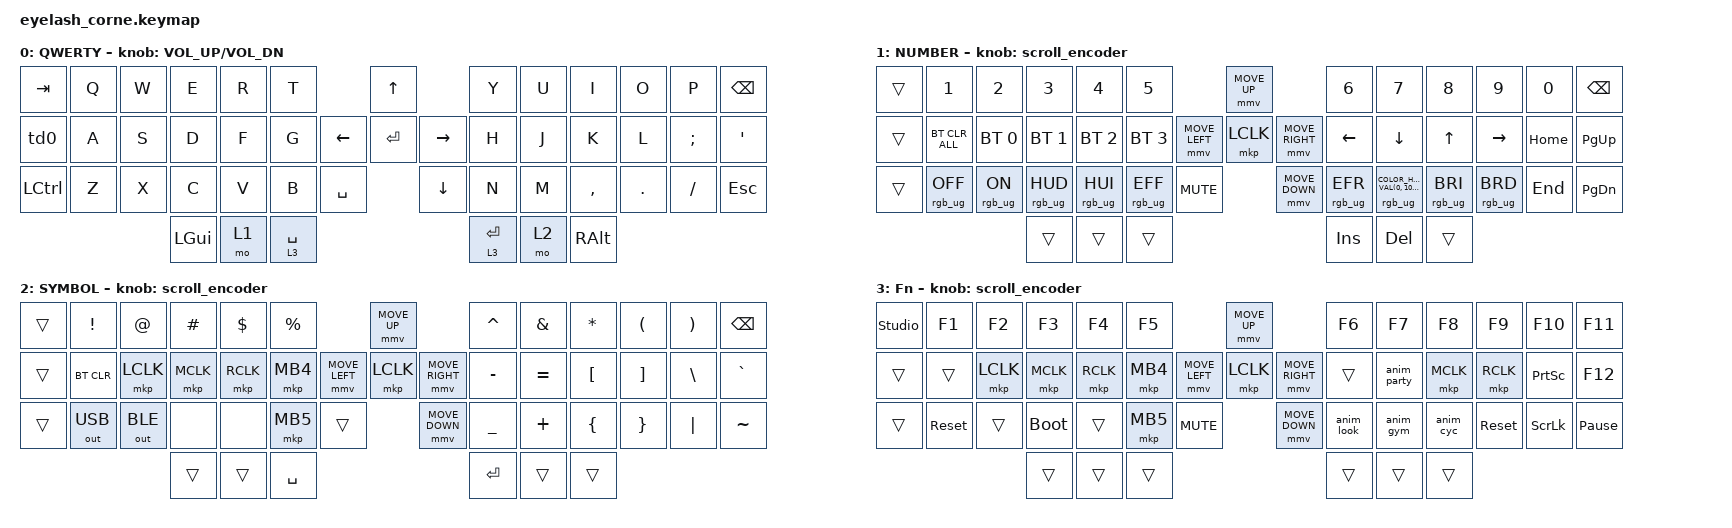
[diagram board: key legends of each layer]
#define ZMK_POINTING_DEFAULT_MOVE_VAL 1200  // 600
#define ZMK_POINTING_DEFAULT_SCRL_VAL 25   // 10

#include <input/processors.dtsi>
#include <zephyr/dt-bindings/input/input-event-codes.h>
#include <behaviors.dtsi>
#include <dt-bindings/zmk/bt.h>
#include <dt-bindings/zmk/keys.h>
#include <dt-bindings/zmk/outputs.h>
#include <dt-bindings/zmk/pointing.h>
#include <dt-bindings/zmk/rgb.h>

&mmv_input_listener { input-processors = <&zip_xy_scaler 2 1>; };

&msc_input_listener { input-processors = <&zip_scroll_scaler 2 1>; };

&msc {
    acceleration-exponent = <1>;      // 0
    time-to-max-speed-ms = <100>;       // 300
    delay-ms = <0>;                   // 0
};

&mmv {
    time-to-max-speed-ms = <500>;
    acceleration-exponent = <1>;
    trigger-period-ms = <16>;
};

&soft_off { hold-time-ms = <2000>; };

/ {
    behaviors {
        td0: td0 {
            compatible = "zmk,behavior-tap-dance";
            display-name = "Shift/Caps Lock Tap Dance";
            #binding-cells = <0>;
            bindings = <&kp LEFT_SHIFT>, <&kp CAPS>;
        };

        /* Display half: zero-param behaviors (split BLE cannot rely on anim_pick params). */
        anim_look: anim_look {
            compatible = "zmk,behavior-anim-set";
            animation-index = <0>;
            #binding-cells = <0>;
        };
        anim_gym: anim_gym {
            compatible = "zmk,behavior-anim-set";
            animation-index = <1>;
            #binding-cells = <0>;
        };
        /*
        anim_boo: anim_boo {
            compatible = "zmk,behavior-anim-set";
            animation-index = <2>;
            #binding-cells = <0>;
        };
        */
        /* anim_party: label ≤9 chars for split BLE run-behavior device name. */
        anim_party: anim_party {
            compatible = "zmk,behavior-anim-set";
            animation-index = <2>;
            #binding-cells = <0>;
        };
        /* Label anim_cyc: BLE run-behavior name max 9 chars (ANIM_CYC). */
        anim_cyc: anim_cyc {
            compatible = "zmk,behavior-anim-cycle";
            #binding-cells = <0>;
        };
    };

    rgb_encoder: rgb_encoder {
        compatible = "zmk,behavior-sensor-rotate";
        #sensor-binding-cells = <0>;
        bindings = <&rgb_ug RGB_BRI>, <&rgb_ug RGB_BRD>;
    };

    scroll_encoder: scroll_encoder {
        compatible = "zmk,behavior-sensor-rotate";
        #sensor-binding-cells = <0>;
        bindings = <&msc SCRL_DOWN>, <&msc SCRL_UP>;

        tap-ms = <100>;
    };

    combos {
        compatible = "zmk,combos";

        softoff {
            bindings = <&soft_off>;
            key-positions = <1 15 29>;
        };
    };

    keymap {
        compatible = "zmk,keymap";

        default_layer {
            display-name = "QWERTY";
            bindings = <
&kp TAB    &kp Q  &kp W  &kp E     &kp R  &kp T                               &kp UP                &kp Y        &kp U  &kp I      &kp O    &kp P     &kp BSPC
&td0       &kp A  &kp S  &kp D     &kp F  &kp G                     &kp LEFT  &kp ENTER  &kp RIGHT  &kp H        &kp J  &kp K      &kp L    &kp SEMI  &kp SQT
&kp LCTRL  &kp Z  &kp X  &kp C     &kp V  &kp B        &kp SPACE              &kp DOWN              &kp N        &kp M  &kp COMMA  &kp DOT  &kp FSLH  &kp ESC
                         &kp LGUI  &mo 1  &lt 3 SPACE                                               &lt 3 ENTER  &mo 2  &kp RALT
            >;

            sensor-bindings = <&inc_dec_kp C_VOLUME_UP C_VOL_DN>;
        };

        lower_layer {
            display-name = "NUMBER";
            bindings = <
&trans  &kp N1           &kp N2          &kp N3        &kp N4        &kp N5                                         &mmv MOVE_UP                     &kp N6           &kp N7           &kp N8           &kp N9           &kp N0    &kp BSPC
&trans  &bt BT_CLR_ALL   &bt BT_SEL 0    &bt BT_SEL 1  &bt BT_SEL 2  &bt BT_SEL 3                   &mmv MOVE_LEFT  &mkp LCLK       &mmv MOVE_RIGHT  &kp LEFT         &kp DOWN         &kp UP           &kp RIGHT        &kp HOME  &kp PG_UP
&trans  &rgb_ug RGB_OFF  &rgb_ug RGB_ON  &rgb_ug RGB_HUD  &rgb_ug RGB_HUI  &rgb_ug RGB_EFF  &kp C_MUTE                    &mmv MOVE_DOWN                   &rgb_ug RGB_EFR  &rgb_ug RGB_COLOR_HSB_CMD RGB_COLOR_HSB_VAL(0, 100, 100)  &rgb_ug RGB_BRI  &rgb_ug RGB_BRD  &kp END   &kp PG_DN
                                         &trans        &trans        &trans                                                                          &kp INS          &kp DEL          &trans
            >;

            sensor-bindings = <&scroll_encoder>;
        };

        raise_layer {
            display-name = "SYMBOL";
            bindings = <
&trans  &kp EXCL      &kp AT        &kp HASH   &kp DLLR   &kp PRCNT                            &mmv MOVE_UP                     &kp CARET  &kp AMPS   &kp ASTRK  &kp LPAR  &kp RPAR  &kp BSPC
&trans  &bt BT_CLR    &mkp LCLK     &mkp MCLK  &mkp RCLK  &mkp MB4             &mmv MOVE_LEFT  &mkp LCLK       &mmv MOVE_RIGHT  &kp MINUS  &kp EQUAL  &kp LBKT   &kp RBKT  &kp BSLH  &kp GRAVE
&trans  &out OUT_USB  &out OUT_BLE  &none      &none      &mkp MB5   &trans                    &mmv MOVE_DOWN                   &kp UNDER  &kp PLUS   &kp LBRC   &kp RBRC  &kp PIPE  &kp TILDE
                                    &trans     &trans     &kp SPACE                                                             &kp RET    &trans     &trans
            >;

            sensor-bindings = <&scroll_encoder>;
        };

        layer_3 {
            display-name = "Fn";
            bindings = <
&studio_unlock  &kp F1      &kp F2     &kp F3       &kp F4     &kp F5                                  &mmv MOVE_UP                     &kp F6       &kp F7     &kp F8       &kp F9      &kp F10          &kp F11
&trans          &trans      &mkp LCLK  &mkp MCLK    &mkp RCLK  &mkp MB4                &mmv MOVE_LEFT  &mkp LCLK       &mmv MOVE_RIGHT  &trans &anim_party &mkp MCLK    &mkp RCLK   &kp PRINTSCREEN  &kp F12
&trans          &sys_reset  &trans     &bootloader  &trans     &mkp MB5  &kp C_MUTE                    &mmv MOVE_DOWN                   &anim_look    &anim_gym        &anim_cyc       &sys_reset  &kp SCROLLLOCK   &kp PAUSE_BREAK
                                       &trans       &trans     &trans                                                                   &trans       &trans     &trans
            >;

            sensor-bindings = <&scroll_encoder>;
        };
    };
};
